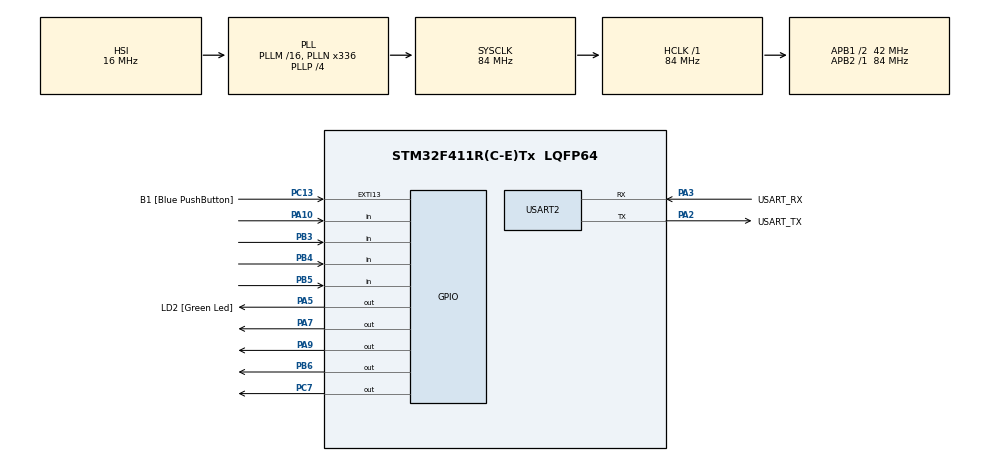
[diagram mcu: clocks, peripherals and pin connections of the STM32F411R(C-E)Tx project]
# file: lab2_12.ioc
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Mcu.Family=STM32F4
Mcu.Name=STM32F411R(C-E)Tx
Mcu.Package=LQFP64
NVIC.PriorityGroup=NVIC_PRIORITYGROUP_0
PA10.GPIO_PuPd=GPIO_PULLUP
PA10.Signal=GPIO_Input
PA13.GPIO_Label=TMS
PA13.Mode=Serial_Wire
PA13.Signal=SYS_JTMS-SWDIO
PA14.GPIO_Label=TCK
PA14.Mode=Serial_Wire
PA14.Signal=SYS_JTCK-SWCLK
PA2.GPIO_Label=USART_TX
PA2.Mode=Asynchronous
PA2.Signal=USART2_TX
PA3.GPIO_Label=USART_RX
PA3.Mode=Asynchronous
PA3.Signal=USART2_RX
PA5.GPIO_Label=LD2 [Green Led]
PA5.Signal=GPIO_Output
PA7.GPIO_ModeDefaultOutputPP=GPIO_MODE_OUTPUT_OD
PA7.PinState=GPIO_PIN_SET
PA7.Signal=GPIO_Output
PA9.GPIO_ModeDefaultOutputPP=GPIO_MODE_OUTPUT_OD
PA9.PinState=GPIO_PIN_SET
PA9.Signal=GPIO_Output
PB3.GPIO_PuPd=GPIO_PULLUP
PB3.Signal=GPIO_Input
PB4.GPIO_PuPd=GPIO_PULLUP
PB4.Signal=GPIO_Input
PB5.GPIO_PuPd=GPIO_PULLUP
PB5.Signal=GPIO_Input
PB6.GPIO_ModeDefaultOutputPP=GPIO_MODE_OUTPUT_OD
PB6.PinState=GPIO_PIN_SET
PB6.Signal=GPIO_Output
PC13-ANTI_TAMP.GPIO_Label=B1 [Blue PushButton]
PC13-ANTI_TAMP.GPIO_ModeDefaultEXTI=GPIO_MODE_IT_FALLING
PC13-ANTI_TAMP.Signal=GPXTI13
PC14-OSC32_IN.Mode=LSE-External-Oscillator
PC14-OSC32_IN.Signal=RCC_OSC32_IN
PC15-OSC32_OUT.Mode=LSE-External-Oscillator
PC15-OSC32_OUT.Signal=RCC_OSC32_OUT
PC7.GPIO_ModeDefaultOutputPP=GPIO_MODE_OUTPUT_OD
PC7.PinState=GPIO_PIN_SET
PC7.Signal=GPIO_Output
PH0\ -\ OSC_IN.Mode=HSE-External-Clock-Source
PH0\ -\ OSC_IN.Signal=RCC_OSC_IN
PH1\ -\ OSC_OUT.Mode=HSE-External-Clock-Source
PH1\ -\ OSC_OUT.Signal=RCC_OSC_OUT
ProjectManager.HeapSize=0x200
ProjectManager.StackSize=0x400
ProjectManager.TargetToolchain=STM32CubeIDE
RCC.48MHZClocksFreq_Value=84000000
RCC.AHBFreq_Value=84000000
RCC.APB1CLKDivider=RCC_HCLK_DIV2
RCC.APB1Freq_Value=42000000
RCC.APB1TimFreq_Value=84000000
RCC.APB2Freq_Value=84000000
RCC.APB2TimFreq_Value=84000000
RCC.CortexFreq_Value=84000000
RCC.FLatency-AdvancedSettings=FLASH_LATENCY_2
RCC.HCLKFreq_Value=84000000
RCC.HSE_VALUE=8000000
RCC.HSI_VALUE=16000000
RCC.PLLN=336
RCC.PLLP=RCC_PLLP_DIV4
RCC.SYSCLKFreq_VALUE=84000000
RCC.SYSCLKSource=RCC_SYSCLKSOURCE_PLLCLK
RCC.VCOOutputFreq_Value=336000000
USART2.VirtualMode=VM_ASYNC
board=NUCLEO-F411RE

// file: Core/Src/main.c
/* USER CODE BEGIN Header */
/**
  ******************************************************************************
  * @file           : main.c
  * @brief          : Main program body
  ******************************************************************************
  * @attention
  *
  * <h2><center>&copy; Copyright (c) 2021 STMicroelectronics.
  * All rights reserved.</center></h2>
  *
  * This software component is licensed by ST under BSD 3-Clause license,
  * the "License"; You may not use this file except in compliance with the
  * License. You may obtain a copy of the License at:
  *                        opensource.org/licenses/BSD-3-Clause
  *
  ******************************************************************************
  */
/* USER CODE END Header */
#include "main.h"

UART_HandleTypeDef huart2;

/* USER CODE BEGIN PV */
uint16_t ButtonMatrixState = 0 ; //save status of button matrix
uint32_t ButtonMatrixTimeStamp = 0 ; //
uint32_t State = 0 ; //NumPad State
/* USER CODE END PV */

void SystemClock_Config(void);
static void MX_GPIO_Init(void);
static void MX_USART2_UART_Init(void);
/* USER CODE BEGIN PFP */
void ButtonMatrixUpdate() ; //scan and update data of Button Matrix
/* USER CODE END PFP */

int main(void)
{

  /* MCU Configuration--------------------------------------------------------*/

  /* Reset of all peripherals, Initializes the Flash interface and the Systick. */
  HAL_Init();

  /* Configure the system clock */
  SystemClock_Config();

  /* Initialize all configured peripherals */
  MX_GPIO_Init();
  MX_USART2_UART_Init();

  /* Infinite loop */
  while (1)
  {

    /* USER CODE BEGIN 3 */
	  ButtonMatrixUpdate();
	  if (State == 0)
	  {
		  if(ButtonMatrixState == 64)
		  {
			  State += 1 ;
			  ButtonMatrixState = 0 ;
		  }
		  else if(ButtonMatrixState == 0)
		  {
			  State = State ;
		  }
		  else if (ButtonMatrixState != 64)
		  {
			  State = 0 ;
		  }
	  }

	  if (State == 1)
	  {
		  if(ButtonMatrixState == 512)
		  {
			  State += 1 ;
			  ButtonMatrixState = 0 ;
		  }
		  else if (ButtonMatrixState==0)
		  {
			  State = State ;
		  }
		  else if (ButtonMatrixState != 512)
		  {
			  State = 0 ;
		  }
	  }

	  if (State == 2)
	  {
		  if(ButtonMatrixState == 1024)
		  {
			  State += 1 ;
			  ButtonMatrixState = 0 ;
		  }
		  else if (ButtonMatrixState==0)
		  {
			  State = State ;

		  }
		  else if (ButtonMatrixState != 1024)
		  {
			  State = 0 ;
		  }
	  }

	  if (State == 3)
	  {
		  if(ButtonMatrixState == 16)
		  {
			  State += 1 ;
			  ButtonMatrixState = 0 ;
		  }
		  else if (ButtonMatrixState==0)
		  {
			  State = State ;
		  }
		  else if (ButtonMatrixState != 16)
		  {
			  State = 0 ;
		  }
	  }

	  if (State == 4)
	  {
		  if(ButtonMatrixState == 4096)
		  {
			  State += 1 ;
			  ButtonMatrixState = 0 ;
		  }
		  else if (ButtonMatrixState==0)
		  {
			  State = State ;
		  }
		  else if (ButtonMatrixState != 4096)
		  {
			  State = 0 ;
		  }
	  }

	  if (State == 5)
	  {
		  if(ButtonMatrixState == 32)
		  {
			  State += 1 ;
			  ButtonMatrixState = 0 ;
		  }
		  else if (ButtonMatrixState==0)
		  {
			  State = State ;
		  }
		  else if (ButtonMatrixState != 32)
		  {
			  State = 0 ;
		  }
	  }

	  if (State == 6)
	  {
		  if(ButtonMatrixState == 4096)
		  {
			  State += 1 ;
			  ButtonMatrixState = 0 ;
		  }
		  else if (ButtonMatrixState==0)
		  {
			  State = State ;
		  }
		  else if (ButtonMatrixState != 4096)
		  {
			  State = 0 ;
		  }
	  }

	  if (State == 7)
	  {
		  if(ButtonMatrixState == 4096)
		  {
			  State += 1 ;
			  ButtonMatrixState = 0 ;
		  }
		  else if (ButtonMatrixState==0)
		  {
			  State = State ;
		  }
		  else if (ButtonMatrixState != 4096)
		  {
			  State = 0 ;
		  }
	  }

	  if (State == 8)
	  {
		  if(ButtonMatrixState == 4096)
		  {
			  State += 1 ;
			  ButtonMatrixState = 0 ;
		  }
		  else if (ButtonMatrixState==0)
		  {
			  State = State ;
		  }
		  else if (ButtonMatrixState != 4096)
		  {
			  State = 0 ;
		  }
	  }

	  if (State == 9)
	  {
		  if(ButtonMatrixState == 256)
		  {
			  State += 1 ;
			  ButtonMatrixState = 0 ;
		  }
		  else if (ButtonMatrixState==0)
		  {
			  State = State ;
		  }
		  else if (ButtonMatrixState != 256)
		  {
			  State = 0 ;
		  }
	  }

	  if (State == 10)
	  {
		  if(ButtonMatrixState == 512)
		  {
			  State += 1 ;
			  ButtonMatrixState = 0 ;
		  }
		  else if (ButtonMatrixState==0)
		  {
			  State = State ;
		  }
		  else if (ButtonMatrixState != 256)
		  {
			  State = 0 ;
		  }
	  }

	  if (ButtonMatrixState == 8)
	  {
		  State = 0 ;
		  HAL_GPIO_WritePin(GPIOA, GPIO_PIN_5, 0);
		  ButtonMatrixState = 0 ;
	  }

	  if (ButtonMatrixState == 32768 && State == 11)
	  {
		  HAL_GPIO_WritePin(GPIOA, GPIO_PIN_5, 1);
		  ButtonMatrixState = 0 ;
	  }

  }
  /* USER CODE END 3 */
}

void SystemClock_Config(void)
{
  RCC_OscInitTypeDef RCC_OscInitStruct = {0};
  RCC_ClkInitTypeDef RCC_ClkInitStruct = {0};

  /** Configure the main internal regulator output voltage
  */
  __HAL_RCC_PWR_CLK_ENABLE();
  __HAL_PWR_VOLTAGESCALING_CONFIG(PWR_REGULATOR_VOLTAGE_SCALE1);
  /** Initializes the RCC Oscillators according to the specified parameters
  * in the RCC_OscInitTypeDef structure.
  */
  RCC_OscInitStruct.OscillatorType = RCC_OSCILLATORTYPE_HSI;
  RCC_OscInitStruct.HSIState = RCC_HSI_ON;
  RCC_OscInitStruct.HSICalibrationValue = RCC_HSICALIBRATION_DEFAULT;
  RCC_OscInitStruct.PLL.PLLState = RCC_PLL_ON;
  RCC_OscInitStruct.PLL.PLLSource = RCC_PLLSOURCE_HSI;
  RCC_OscInitStruct.PLL.PLLM = 16;
  RCC_OscInitStruct.PLL.PLLN = 336;
  RCC_OscInitStruct.PLL.PLLP = RCC_PLLP_DIV4;
  RCC_OscInitStruct.PLL.PLLQ = 4;
  if (HAL_RCC_OscConfig(&RCC_OscInitStruct) != HAL_OK)
  {
    Error_Handler();
  }
  /** Initializes the CPU, AHB and APB buses clocks
  */
  RCC_ClkInitStruct.ClockType = RCC_CLOCKTYPE_HCLK|RCC_CLOCKTYPE_SYSCLK
                              |RCC_CLOCKTYPE_PCLK1|RCC_CLOCKTYPE_PCLK2;
  RCC_ClkInitStruct.SYSCLKSource = RCC_SYSCLKSOURCE_PLLCLK;
  RCC_ClkInitStruct.AHBCLKDivider = RCC_SYSCLK_DIV1;
  RCC_ClkInitStruct.APB1CLKDivider = RCC_HCLK_DIV2;
  RCC_ClkInitStruct.APB2CLKDivider = RCC_HCLK_DIV1;

  if (HAL_RCC_ClockConfig(&RCC_ClkInitStruct, FLASH_LATENCY_2) != HAL_OK)
  {
    Error_Handler();
  }
}

static void MX_USART2_UART_Init(void)
{

  huart2.Instance = USART2;
  huart2.Init.BaudRate = 115200;
  huart2.Init.WordLength = UART_WORDLENGTH_8B;
  huart2.Init.StopBits = UART_STOPBITS_1;
  huart2.Init.Parity = UART_PARITY_NONE;
  huart2.Init.Mode = UART_MODE_TX_RX;
  huart2.Init.HwFlowCtl = UART_HWCONTROL_NONE;
  huart2.Init.OverSampling = UART_OVERSAMPLING_16;
  if (HAL_UART_Init(&huart2) != HAL_OK)
  {
    Error_Handler();
  }

}

static void MX_GPIO_Init(void)
{
  GPIO_InitTypeDef GPIO_InitStruct = {0};

  /* GPIO Ports Clock Enable */
  __HAL_RCC_GPIOC_CLK_ENABLE();
  __HAL_RCC_GPIOH_CLK_ENABLE();
  __HAL_RCC_GPIOA_CLK_ENABLE();
  __HAL_RCC_GPIOB_CLK_ENABLE();

  /*Configure GPIO pin Output Level */
  HAL_GPIO_WritePin(LD2_GPIO_Port, LD2_Pin, GPIO_PIN_RESET);

  /*Configure GPIO pin Output Level */
  HAL_GPIO_WritePin(GPIOA, GPIO_PIN_7|GPIO_PIN_9, GPIO_PIN_SET);

  /*Configure GPIO pin Output Level */
  HAL_GPIO_WritePin(GPIOC, GPIO_PIN_7, GPIO_PIN_SET);

  /*Configure GPIO pin Output Level */
  HAL_GPIO_WritePin(GPIOB, GPIO_PIN_6, GPIO_PIN_SET);

  /*Configure GPIO pin : B1_Pin */
  GPIO_InitStruct.Pin = B1_Pin;
  GPIO_InitStruct.Mode = GPIO_MODE_IT_FALLING;
  GPIO_InitStruct.Pull = GPIO_NOPULL;
  HAL_GPIO_Init(B1_GPIO_Port, &GPIO_InitStruct);

  /*Configure GPIO pin : LD2_Pin */
  GPIO_InitStruct.Pin = LD2_Pin;
  GPIO_InitStruct.Mode = GPIO_MODE_OUTPUT_PP;
  GPIO_InitStruct.Pull = GPIO_NOPULL;
  GPIO_InitStruct.Speed = GPIO_SPEED_FREQ_LOW;
  HAL_GPIO_Init(LD2_GPIO_Port, &GPIO_InitStruct);

  /*Configure GPIO pins : PA7 PA9 */
  GPIO_InitStruct.Pin = GPIO_PIN_7|GPIO_PIN_9;
  GPIO_InitStruct.Mode = GPIO_MODE_OUTPUT_OD;
  GPIO_InitStruct.Pull = GPIO_NOPULL;
  GPIO_InitStruct.Speed = GPIO_SPEED_FREQ_LOW;
  HAL_GPIO_Init(GPIOA, &GPIO_InitStruct);

  /*Configure GPIO pin : PC7 */
  GPIO_InitStruct.Pin = GPIO_PIN_7;
  GPIO_InitStruct.Mode = GPIO_MODE_OUTPUT_OD;
  GPIO_InitStruct.Pull = GPIO_NOPULL;
  GPIO_InitStruct.Speed = GPIO_SPEED_FREQ_LOW;
  HAL_GPIO_Init(GPIOC, &GPIO_InitStruct);

  /*Configure GPIO pin : PA10 */
  GPIO_InitStruct.Pin = GPIO_PIN_10;
  GPIO_InitStruct.Mode = GPIO_MODE_INPUT;
  GPIO_InitStruct.Pull = GPIO_PULLUP;
  HAL_GPIO_Init(GPIOA, &GPIO_InitStruct);

  /*Configure GPIO pins : PB3 PB4 PB5 */
  GPIO_InitStruct.Pin = GPIO_PIN_3|GPIO_PIN_4|GPIO_PIN_5;
  GPIO_InitStruct.Mode = GPIO_MODE_INPUT;
  GPIO_InitStruct.Pull = GPIO_PULLUP;
  HAL_GPIO_Init(GPIOB, &GPIO_InitStruct);

  /*Configure GPIO pin : PB6 */
  GPIO_InitStruct.Pin = GPIO_PIN_6;
  GPIO_InitStruct.Mode = GPIO_MODE_OUTPUT_OD;
  GPIO_InitStruct.Pull = GPIO_NOPULL;
  GPIO_InitStruct.Speed = GPIO_SPEED_FREQ_LOW;
  HAL_GPIO_Init(GPIOB, &GPIO_InitStruct);

}

/* USER CODE BEGIN 4 */
//0-3input 4-7output
GPIO_TypeDef* ButtonMatrixPort[8] = {GPIOA,GPIOB,GPIOB,GPIOB,GPIOA,GPIOC,GPIOB,GPIOA} ;
uint16_t ButtonMatrixPin[8] = {GPIO_PIN_10,GPIO_PIN_3,GPIO_PIN_5,GPIO_PIN_4,GPIO_PIN_9,GPIO_PIN_7,GPIO_PIN_6,GPIO_PIN_7} ;
uint8_t ButtonMatrixLine = 0; //where is R
void ButtonMatrixUpdate()
{
	if(HAL_GetTick() - ButtonMatrixTimeStamp >= 100)
	{
		ButtonMatrixTimeStamp = HAL_GetTick() ;
		int i ;
		for(i =0;i<4;i++)
		{
			GPIO_PinState Pinstate = HAL_GPIO_ReadPin(ButtonMatrixPort[i], ButtonMatrixPin[i]);
			if(Pinstate == GPIO_PIN_RESET)
			{
				ButtonMatrixState |= (uint16_t) 1 << (i + ButtonMatrixLine * 4) ;
			}
			else
			{
				ButtonMatrixState &= ~((uint16_t) 1 <<(i + ButtonMatrixLine * 4)) ;
			}
		}
		uint8_t NowOutputPin =ButtonMatrixLine + 4 ;
		HAL_GPIO_WritePin(ButtonMatrixPort[NowOutputPin], ButtonMatrixPin[NowOutputPin], GPIO_PIN_SET) ;
		ButtonMatrixLine = (ButtonMatrixLine +1) % 4 ;

		uint8_t NextOutputPin = ButtonMatrixLine + 4 ;
		HAL_GPIO_WritePin(ButtonMatrixPort[NextOutputPin], ButtonMatrixPin[NextOutputPin], GPIO_PIN_RESET) ;
	}
}
/* USER CODE END 4 */

void Error_Handler(void)
{
  __disable_irq();
  while (1)
  {
  }
}

/************************ (C) COPYRIGHT STMicroelectronics *****END OF FILE****/
